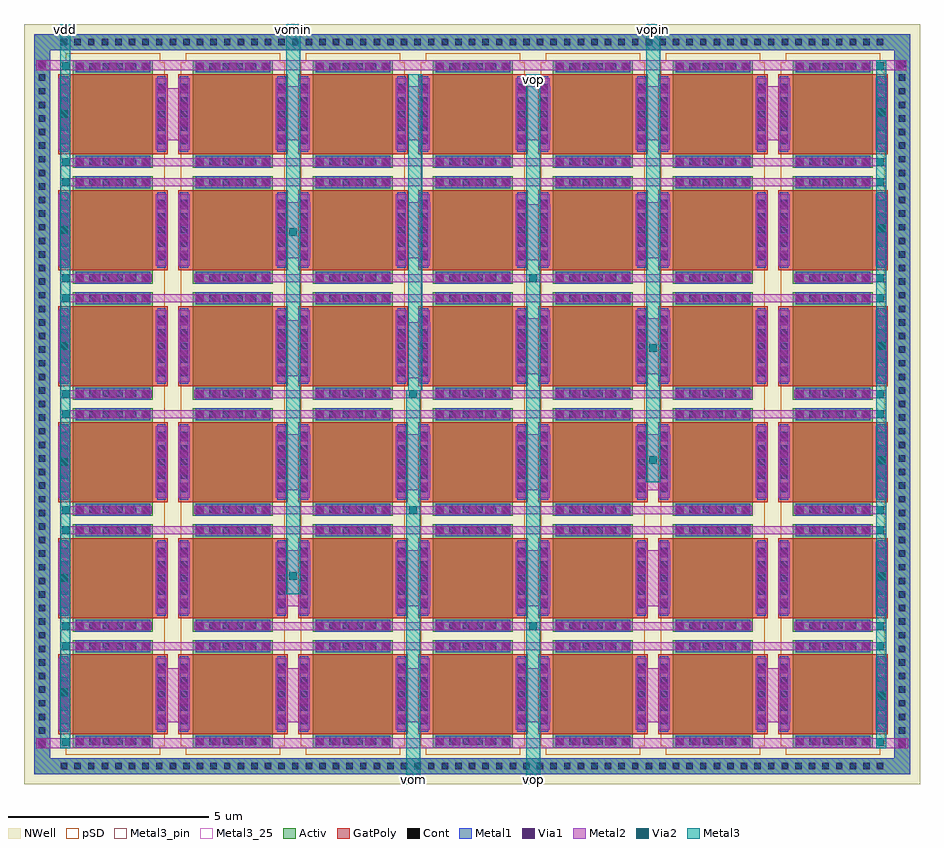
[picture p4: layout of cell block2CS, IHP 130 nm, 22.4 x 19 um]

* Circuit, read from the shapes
.subckt block2CS vdd vom vomin vop vopin
XM1 vdd vdd vdd vdd sg13_lv_pmos w=2u l=2u m=22
XM2 vdd vomin vop vdd sg13_lv_pmos w=2u l=2u m=10
XM3 vdd vopin vom vdd sg13_lv_pmos w=2u l=2u m=10
.ends

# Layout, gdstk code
from math import pi, radians
import gdstk
lib = gdstk.Library(unit=1e-6, precision=1e-09)
def R(c, l, rs):  # rectangles x0, y0, x1, y1
    for r in rs: c.add(gdstk.rectangle(r[:2], r[2:], *l))
def A(c, l, x, y, w, h, nx, ny, dx, dy):  # array of equal rectangles
    R(c, l, [(x+i*dx, y+j*dy, x+i*dx+w, y+j*dy+h) for i in range(nx) for j in range(ny)])
Activ = (1, 0)
GatPoly = (5, 0)
Cont = (6, 0)
Metal1 = (8, 0)
Metal2 = (10, 0)
pSD = (14, 0)
Via1 = (19, 0)
Via2 = (29, 0)
Metal3 = (30, 0)
Metal3_pin = (30, 2)
Metal3_25 = (30, 25)
NWell = (31, 0)

sg13_lv_pmos_g7z9ss = lib.new_cell('sg13_lv_pmos_G7Z9SS')
R(sg13_lv_pmos_g7z9ss, Activ, [(-1.34,-1,1.34,1)])
R(sg13_lv_pmos_g7z9ss, GatPoly, [(-1,-1.37,1,1.37)])
A(sg13_lv_pmos_g7z9ss, Cont, -0.76, -1.3, 0.16, 0.16, 5, 2, 0.34, 2.44)
A(sg13_lv_pmos_g7z9ss, Cont, -1.27, -0.93, 0.16, 0.16, 1, 6, 0, 0.34)
A(sg13_lv_pmos_g7z9ss, Cont, 1.11, -0.93, 0.16, 0.16, 1, 6, 0, 0.34)
R(sg13_lv_pmos_g7z9ss, Metal1, [(-0.94,-1.325,0.94,-1.115), (-1.34,-0.93,-1.04,0.93), (1.04,-0.93,1.34,0.93), (-0.94,1.115,0.94,1.325)])
R(sg13_lv_pmos_g7z9ss, Metal2, [(-0.89,-1.365,0.89,-1.075), (-1.29,-0.97,-1.09,0.97), (1.09,-0.97,1.29,0.97), (-0.89,1.075,0.89,1.365)])
R(sg13_lv_pmos_g7z9ss, pSD, [(-1.3,-1.3,1.3,-1.18), (-1.52,-1.18,1.52,1.18), (-1.3,1.18,1.3,1.3)])
A(sg13_lv_pmos_g7z9ss, Via1, -0.71, -1.315, 0.19, 0.19, 4, 2, 0.41, 2.44)
A(sg13_lv_pmos_g7z9ss, Via1, -1.285, -0.915, 0.19, 0.19, 1, 5, 0, 0.41)
A(sg13_lv_pmos_g7z9ss, Via1, 1.095, -0.915, 0.19, 0.19, 1, 5, 0, 0.41)
R(sg13_lv_pmos_g7z9ss, NWell, [(-1.65,-1.31,1.65,1.31)])
sg13_lv_pmos_g7z9ss.add(gdstk.Label('D', (-1.19,0), layer=8, texttype=25))
sg13_lv_pmos_g7z9ss.add(gdstk.Label('S', (1.19,0), layer=8, texttype=25))
sg13_lv_pmos_g7z9ss.add(gdstk.Label('G', (0,1.22), layer=8, texttype=25))

block2cs = lib.new_cell('block2CS')
R(block2cs, Activ, [(-0.6,-14.85,21.3,-14.45), (-0.6,-14.45,-0.2,3.25), (20.9,-14.45,21.3,3.25), (-0.6,3.25,21.3,3.65)])
A(block2cs, Cont, 0.07, -14.73, 0.16, 0.16, 61, 2, 0.34, 18.1)
A(block2cs, Cont, -0.48, -14.18, 0.16, 0.16, 1, 51, 0, 0.34)
A(block2cs, Cont, 21.02, -14.18, 0.16, 0.16, 1, 51, 0, 0.34)
R(block2cs, Metal1, [(-0.6,-14.85,21.3,-14.45), (-0.6,-14.45,-0.2,3.25), (20.9,-14.45,21.3,3.25), (-0.6,3.25,21.3,3.65)])
A(block2cs, Metal2, 2.45, -13.55, 0.8, 1.35, 3, 1, 3, 0)
A(block2cs, Metal2, 0.05, -11.75, 20.65, 0.2, 1, 5, 0, 2.9)
A(block2cs, Metal2, 0.05, -11.25, 2.25, 0.2, 1, 4, 0, 2.9)
A(block2cs, Metal2, 3.45, -11.25, 13.9, 0.2, 1, 4, 0, 2.9)
A(block2cs, Metal2, 18.45, -11.25, 2.25, 0.2, 1, 4, 0, 2.9)
A(block2cs, Metal2, 5.45, -10.65, 0.85, 1.4, 4, 2, 3, 2.9)
A(block2cs, Metal2, 0.05, -10.05, 0.2, 0.2, 1, 5, 0, 2.9)
R(block2cs, Metal2, [(-0.55,-14.2,21.25,-13.95), (11.5,-13.55,12.3,-12.2), (14.45,-13.55,15.25,-12.2), (17.5,-13.55,18.3,-12.2), (20.5,-13,20.7,-12.8), (0.05,-12.9,0.25,-12.7), (20.5,-10,20.7,-9.8), (20.5,-7.1,20.7,-6.9), (8.45,-4.95,9.3,-3.55), (5.45,-4.9,6.3,-3.5), (11.45,-4.85,12.3,-3.45), (14.45,-4.85,15.3,-3.45), (20.5,-4.25,20.7,-4.05), (11.45,-2,12.3,-0.6), (5.45,-1.95,6.3,-0.55), (8.45,-1.95,9.3,-0.55), (14.45,-1.95,15.3,-0.55), (20.5,-1.3,20.7,-1.1), (0.05,0.35,20.7,0.55), (2.5,1,3.25,2.3), (5.45,1,6.25,2.35), (8.45,1,9.25,2.35), (11.5,1,12.3,2.35), (14.45,1,15.25,2.35), (17.5,1,18.3,2.35), (20.5,1.6,20.7,1.8), (-0.55,2.75,21.2,3)])
A(block2cs, pSD, 0.07, -11.55, 0.12, 0.3, 1, 5, 0, 2.9)
A(block2cs, pSD, 2.55, -11.55, 0.12, 0.3, 1, 5, 0, 2.9)
A(block2cs, pSD, 3.07, -11.55, 0.12, 0.3, 1, 5, 0, 2.9)
A(block2cs, pSD, 5.55, -11.55, 0.12, 0.3, 1, 5, 0, 2.9)
A(block2cs, pSD, 6.07, -11.55, 0.12, 0.3, 1, 5, 0, 2.9)
A(block2cs, pSD, 8.55, -11.55, 0.12, 0.3, 1, 5, 0, 2.9)
A(block2cs, pSD, 9.07, -11.55, 0.12, 0.3, 1, 5, 0, 2.9)
A(block2cs, pSD, 11.55, -11.55, 0.12, 0.3, 1, 5, 0, 2.9)
A(block2cs, pSD, 12.07, -11.55, 0.12, 0.3, 1, 5, 0, 2.9)
A(block2cs, pSD, 14.55, -11.55, 0.12, 0.3, 1, 5, 0, 2.9)
A(block2cs, pSD, 15.07, -11.55, 0.12, 0.3, 1, 5, 0, 2.9)
A(block2cs, pSD, 17.55, -11.55, 0.12, 0.3, 1, 5, 0, 2.9)
A(block2cs, pSD, 18.07, -11.55, 0.12, 0.3, 1, 5, 0, 2.9)
A(block2cs, pSD, 20.55, -11.55, 0.12, 0.3, 1, 5, 0, 2.9)
R(block2cs, Via1, [(-0.495,-14.17,-0.305,-13.98), (21.005,-14.17,21.195,-13.98), (-0.495,2.78,-0.305,2.97), (20.955,2.78,21.145,2.97)])
A(block2cs, Via2, 0.055, -10.045, 0.19, 0.19, 1, 5, 0, 2.9)
R(block2cs, Via2, [(0.105,-14.145,0.295,-13.955), (20.455,-14.145,20.645,-13.955), (20.505,-12.995,20.695,-12.805), (0.055,-12.895,0.245,-12.705), (0.105,-11.745,0.295,-11.555), (20.455,-11.745,20.645,-11.555), (0.105,-11.245,0.295,-11.055), (11.78,-11.245,11.97,-11.055), (20.455,-11.245,20.645,-11.055), (5.78,-9.995,5.97,-9.805), (20.505,-9.995,20.695,-9.805), (0.105,-8.845,0.295,-8.655), (20.455,-8.845,20.645,-8.655), (0.105,-8.345,0.295,-8.155), (8.78,-8.345,8.97,-8.155), (20.455,-8.345,20.645,-8.155), (14.78,-7.095,14.97,-6.905), (20.505,-7.095,20.695,-6.905), (0.105,-5.945,0.295,-5.755), (20.455,-5.945,20.645,-5.755), (0.105,-5.445,0.295,-5.255), (8.78,-5.445,8.97,-5.255), (20.455,-5.445,20.645,-5.255), (14.78,-4.295,14.97,-4.105), (20.505,-4.245,20.695,-4.055), (0.105,-3.045,0.295,-2.855), (20.455,-3.045,20.645,-2.855), (0.105,-2.545,0.295,-2.355), (11.78,-2.545,11.97,-2.355), (20.455,-2.545,20.645,-2.355), (5.78,-1.395,5.97,-1.205), (20.505,-1.295,20.695,-1.105), (0.105,-0.145,0.295,0.045), (20.455,-0.145,20.645,0.045), (0.105,0.355,0.295,0.545), (20.455,0.355,20.645,0.545), (20.505,1.605,20.695,1.795), (0.105,2.755,0.295,2.945), (20.455,2.755,20.645,2.945)])
R(block2cs, Metal3, [(8.7,-15.1,9.05,-5.25), (11.7,-15.1,12.05,2.65), (0.05,-14.2,0.3,3.9), (20.45,-14.2,20.7,3), (5.7,-10.35,6.05,3.9), (14.7,-7.55,15.05,3.9), (8.75,-5.25,9.1,2.65)])
R(block2cs, Metal3_pin, [(8.7,-15.1,9.05,-14.85), (11.7,-15.1,12.05,-14.85), (0.05,3.65,0.3,3.9), (5.7,3.65,6.05,3.9), (14.7,3.65,15.05,3.9)])
R(block2cs, Metal3_25, [(11.8,2.4,11.95,2.65)])
R(block2cs, NWell, [(-0.85,-15.1,21.55,3.9)])
block2cs.add(gdstk.Reference(sg13_lv_pmos_g7z9ss, (1.37,-9.95), rotation=3*pi/2))
block2cs.add(gdstk.Reference(sg13_lv_pmos_g7z9ss, (1.37,-12.85), rotation=3*pi/2))
block2cs.add(gdstk.Reference(sg13_lv_pmos_g7z9ss, (4.37,-9.95), rotation=3*pi/2))
block2cs.add(gdstk.Reference(sg13_lv_pmos_g7z9ss, (4.37,-12.85), rotation=3*pi/2))
block2cs.add(gdstk.Reference(sg13_lv_pmos_g7z9ss, (7.37,-9.95), rotation=3*pi/2))
block2cs.add(gdstk.Reference(sg13_lv_pmos_g7z9ss, (7.37,-12.85), rotation=3*pi/2))
block2cs.add(gdstk.Reference(sg13_lv_pmos_g7z9ss, (10.37,-9.95), rotation=3*pi/2))
block2cs.add(gdstk.Reference(sg13_lv_pmos_g7z9ss, (10.37,-12.85), rotation=3*pi/2))
block2cs.add(gdstk.Reference(sg13_lv_pmos_g7z9ss, (13.37,-9.95), rotation=3*pi/2))
block2cs.add(gdstk.Reference(sg13_lv_pmos_g7z9ss, (13.37,-12.85), rotation=3*pi/2))
block2cs.add(gdstk.Reference(sg13_lv_pmos_g7z9ss, (16.37,-9.95), rotation=3*pi/2))
block2cs.add(gdstk.Reference(sg13_lv_pmos_g7z9ss, (16.37,-12.85), rotation=3*pi/2))
block2cs.add(gdstk.Reference(sg13_lv_pmos_g7z9ss, (19.37,-9.95), rotation=3*pi/2))
block2cs.add(gdstk.Reference(sg13_lv_pmos_g7z9ss, (19.37,-12.85), rotation=3*pi/2))
block2cs.add(gdstk.Reference(sg13_lv_pmos_g7z9ss, (1.37,-7.05), rotation=3*pi/2))
block2cs.add(gdstk.Reference(sg13_lv_pmos_g7z9ss, (4.37,-7.05), rotation=3*pi/2))
block2cs.add(gdstk.Reference(sg13_lv_pmos_g7z9ss, (7.37,-7.05), rotation=3*pi/2))
block2cs.add(gdstk.Reference(sg13_lv_pmos_g7z9ss, (10.37,-7.05), rotation=3*pi/2))
block2cs.add(gdstk.Reference(sg13_lv_pmos_g7z9ss, (13.37,-7.05), rotation=3*pi/2))
block2cs.add(gdstk.Reference(sg13_lv_pmos_g7z9ss, (16.37,-7.05), rotation=3*pi/2))
block2cs.add(gdstk.Reference(sg13_lv_pmos_g7z9ss, (19.37,-7.05), rotation=3*pi/2))
block2cs.add(gdstk.Reference(sg13_lv_pmos_g7z9ss, (1.37,-4.15), rotation=3*pi/2))
block2cs.add(gdstk.Reference(sg13_lv_pmos_g7z9ss, (4.37,-4.15), rotation=3*pi/2))
block2cs.add(gdstk.Reference(sg13_lv_pmos_g7z9ss, (7.37,-4.15), rotation=3*pi/2))
block2cs.add(gdstk.Reference(sg13_lv_pmos_g7z9ss, (10.37,-4.15), rotation=3*pi/2))
block2cs.add(gdstk.Reference(sg13_lv_pmos_g7z9ss, (13.37,-4.15), rotation=3*pi/2))
block2cs.add(gdstk.Reference(sg13_lv_pmos_g7z9ss, (16.37,-4.15), rotation=3*pi/2))
block2cs.add(gdstk.Reference(sg13_lv_pmos_g7z9ss, (19.37,-4.15), rotation=3*pi/2))
block2cs.add(gdstk.Reference(sg13_lv_pmos_g7z9ss, (1.37,-1.25), rotation=3*pi/2))
block2cs.add(gdstk.Reference(sg13_lv_pmos_g7z9ss, (4.37,-1.25), rotation=3*pi/2))
block2cs.add(gdstk.Reference(sg13_lv_pmos_g7z9ss, (7.37,-1.25), rotation=3*pi/2))
block2cs.add(gdstk.Reference(sg13_lv_pmos_g7z9ss, (10.37,-1.25), rotation=3*pi/2))
block2cs.add(gdstk.Reference(sg13_lv_pmos_g7z9ss, (13.37,-1.25), rotation=3*pi/2))
block2cs.add(gdstk.Reference(sg13_lv_pmos_g7z9ss, (16.37,-1.25), rotation=3*pi/2))
block2cs.add(gdstk.Reference(sg13_lv_pmos_g7z9ss, (19.37,-1.25), rotation=3*pi/2))
block2cs.add(gdstk.Reference(sg13_lv_pmos_g7z9ss, (1.37,1.65), rotation=3*pi/2))
block2cs.add(gdstk.Reference(sg13_lv_pmos_g7z9ss, (4.37,1.65), rotation=3*pi/2))
block2cs.add(gdstk.Reference(sg13_lv_pmos_g7z9ss, (7.37,1.65), rotation=3*pi/2))
block2cs.add(gdstk.Reference(sg13_lv_pmos_g7z9ss, (10.37,1.65), rotation=3*pi/2))
block2cs.add(gdstk.Reference(sg13_lv_pmos_g7z9ss, (13.37,1.65), rotation=3*pi/2))
block2cs.add(gdstk.Reference(sg13_lv_pmos_g7z9ss, (16.37,1.65), rotation=3*pi/2))
block2cs.add(gdstk.Reference(sg13_lv_pmos_g7z9ss, (19.37,1.65), rotation=3*pi/2))
block2cs.add(gdstk.Label('vop', (11.875,2.525), layer=30, texttype=25))
block2cs.add(gdstk.Label('vdd', (0.175,3.775), layer=30, texttype=25))
block2cs.add(gdstk.Label('vomin', (5.875,3.775), layer=30, texttype=25))
block2cs.add(gdstk.Label('vopin', (14.875,3.775), layer=30, texttype=25))
block2cs.add(gdstk.Label('vom', (8.875,-14.975), layer=30, texttype=25))
block2cs.add(gdstk.Label('vop', (11.875,-14.975), layer=30, texttype=25))

lib.write_gds('block2CS.gds')
